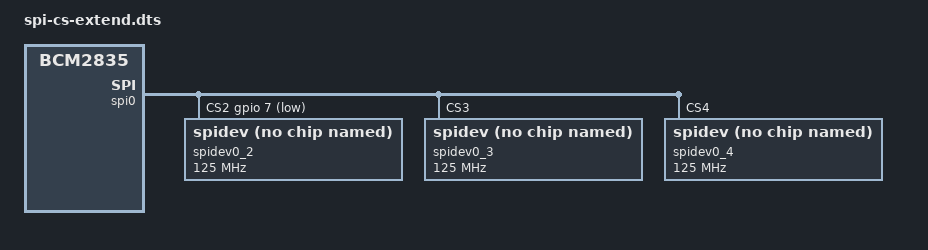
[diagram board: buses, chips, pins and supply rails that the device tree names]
/dts-v1/;
/plugin/;


/ {
	compatible = "brcm,bcm2835";

	fragment@0 {
		target = <&spi0_cs_pins>;
		frag0: __overlay__ {
			brcm,pins = <8 18 7>;
		};
	};

	fragment@1 {
		target = <&spi0>;
		frag1: __overlay__ {
			#address-cells = <1>;
			#size-cells = <0>;

			cs-gpios = <&gpio 8 1>, <&gpio 18 1>, <&gpio 7 1>;
			status = "okay";

			spidev0_2: spidev@2 {
				compatible = "spidev";
				reg = <2>;
				#address-cells = <1>;
				#size-cells = <0>;
				spi-max-frequency = <125000000>;
			};

			spidev0_3: spidev@3 {
				compatible = "spidev";
				reg = <3>;
				#address-cells = <1>;
				#size-cells = <0>;
				spi-max-frequency = <125000000>;
			};

			spidev0_4: spidev@4 {
				compatible = "spidev";
				reg = <4>;
				#address-cells = <1>;
				#size-cells = <0>;
				spi-max-frequency = <125000000>;
			};
		};
	};
};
